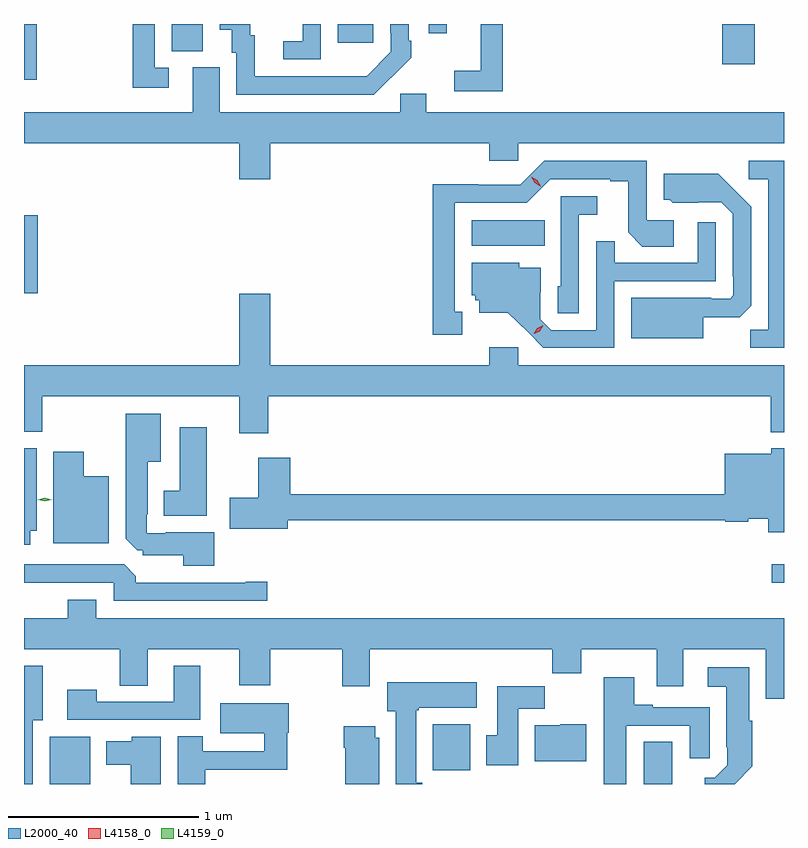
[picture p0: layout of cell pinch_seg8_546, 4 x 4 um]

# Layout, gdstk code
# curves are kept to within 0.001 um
import gdstk
lib = gdstk.Library(unit=1e-6, precision=1e-09)
def R(c, l, rs):  # rectangles x0, y0, x1, y1
    for r in rs: c.add(gdstk.rectangle(r[:2], r[2:], *l))
def P(c, l, *ps):  # polygons
    for p in ps: c.add(gdstk.Polygon(p, *l))
L2000_40 = (2000, 40)
L4158_0 = (4158, 0)
L4159_0 = (4159, 0)

pinch_seg8_546 = lib.new_cell('pinch_seg8_546')
R(pinch_seg8_546, L2000_40, [(140.036,1119.788,140.248,1120.036), (143.162,1119.788,143.311,1120.01), (142.052,1119.86,142.249,1120.102), (143.835,1120.848,143.9,1120.944), (139.9,1122.371,139.972,1122.781), (142.256,1122.62,142.64,1122.754), (139.9,1123.494,139.967,1123.788), (143.576,1123.575,143.746,1123.788), (140.678,1123.645,140.842,1123.788), (141.551,1123.689,141.739,1123.788), (142.029,1123.74,142.125,1123.788)])
P(pinch_seg8_546, L2000_40, [(142.421,1123.788),(142.304,1123.788),(142.304,1123.543),(142.164,1123.543),(142.164,1123.434),(142.421,1123.434)],
  [(141.462,1123.788),(141.366,1123.788),(141.366,1123.698),(141.264,1123.698),(141.264,1123.602),(141.462,1123.602)],
  [(141.833,1123.507),(141.834,1123.506),(141.939,1123.611),(141.939,1123.699),(141.924,1123.699),(141.924,1123.788),(141.828,1123.788),(141.828,1123.741),(141.831,1123.741),(141.831,1123.641),(141.703,1123.513),(141.599,1123.512),(141.115,1123.512),(141.115,1123.728),(141.091,1123.728),(141.091,1123.788),(140.93,1123.788),(140.93,1123.757),(140.993,1123.757),(140.993,1123.638),(141.018,1123.638),(141.018,1123.416),(141.742,1123.416)],
  [(140.662,1123.557),(140.589,1123.557),(140.589,1123.788),(140.473,1123.788),(140.473,1123.452),(140.662,1123.452)],
  [(141.196,1123.16),(142.349,1123.16),(142.349,1123.067),(142.5,1123.067),(142.5,1123.16),(143.9,1123.16),(143.9,1123.324),(142.018,1123.324),(142.018,1123.422),(141.879,1123.422),(141.879,1123.324),(140.929,1123.324),(140.929,1123.56),(140.789,1123.56),(140.789,1123.324),(139.9,1123.324),(139.9,1123.16),(141.032,1123.16),(141.032,1122.972),(141.196,1122.972)],
  [(142.207,1122.273),(142.168,1122.273),(142.168,1122.846),(142.545,1122.846),(142.671,1122.972),(142.985,1122.972),(142.985,1122.96),(143.079,1122.96),(143.079,1122.692),(143.155,1122.616),(143.32,1122.616),(143.32,1122.756),(143.178,1122.756),(143.178,1123.068),(142.638,1123.068),(142.512,1122.942),(142.29,1122.942),(142.29,1122.944),(142.05,1122.944),(142.05,1122.153),(142.207,1122.153)],
  [(143.9,1123.068),(143.715,1123.068),(143.715,1122.972),(143.817,1122.972),(143.817,1122.179),(143.722,1122.179),(143.722,1122.084),(143.9,1122.084)],
  [(143.476,1122.245),(143.668,1122.245),(143.727,1122.304),(143.727,1122.826),(143.555,1123),(143.267,1123),(143.267,1122.864),(143.298,1122.864),(143.314,1122.848),(143.571,1122.849),(143.631,1122.789),(143.631,1122.46),(143.634,1122.46),(143.634,1122.36),(143.616,1122.342),(143.516,1122.342),(143.516,1122.346),(143.096,1122.346),(143.096,1122.134),(143.476,1122.134)],
  [(142.821,1122.785),(142.918,1122.785),(142.918,1122.882),(142.725,1122.882),(142.725,1122.408),(142.71,1122.408),(142.71,1122.265),(142.821,1122.265)],
  [(143.007,1122.435),(143.541,1122.435),(143.541,1122.745),(143.445,1122.745),(143.445,1122.531),(143.009,1122.531),(143.009,1122.644),(142.911,1122.644),(142.911,1122.177),(142.674,1122.177),(142.617,1122.234),(142.617,1122.376),(142.621,1122.376),(142.621,1122.505),(142.506,1122.505),(142.506,1122.532),(142.256,1122.532),(142.256,1122.36),(142.275,1122.36),(142.275,1122.333),(142.295,1122.333),(142.295,1122.269),(142.447,1122.269),(142.634,1122.084),(143.007,1122.084)],
  [(141.185,1121.828),(143.831,1121.828),(143.831,1121.639),(143.9,1121.639),(143.9,1121.992),(142.5,1121.992),(142.5,1122.088),(142.349,1122.088),(142.349,1121.992),(141.196,1121.992),(141.196,1122.367),(141.032,1122.367),(141.032,1121.992),(139.9,1121.992),(139.9,1121.641),(139.995,1121.641),(139.995,1121.828),(141.032,1121.828),(141.032,1121.634),(141.185,1121.634)],
  [(140.902,1121.113),(140.647,1121.113),(140.647,1121.109),(140.547,1121.109),(140.547,1121.209),(140.551,1121.209),(140.551,1121.483),(140.62,1121.483),(140.62,1121.737),(140.435,1121.737),(140.435,1121.079),(140.495,1121.019),(140.526,1121.019),(140.526,1120.991),(140.738,1120.991),(140.738,1120.937),(140.902,1120.937)],
  [(140.863,1121.665),(140.72,1121.665),(140.72,1121.332),(140.636,1121.332),(140.636,1121.201),(140.863,1121.201)],
  [(139.933,1121.12),(139.966,1121.12),(139.966,1121.556),(139.9,1121.556),(139.9,1121.046),(139.933,1121.046)],
  [(143.9,1121.554),(143.832,1121.554),(143.832,1121.527),(143.588,1121.527),(143.588,1121.312),(141.302,1121.312),(141.302,1121.506),(141.134,1121.506),(141.134,1121.295),(140.982,1121.295),(140.982,1121.132),(141.289,1121.132),(141.289,1121.176),(143.592,1121.176),(143.592,1121.168),(143.712,1121.168),(143.712,1121.183),(143.816,1121.183),(143.816,1121.112),(143.9,1121.112)],
  [(140.347,1121.407),(140.215,1121.407),(140.215,1121.536),(140.054,1121.536),(140.054,1121.054),(140.347,1121.054)],
  [(141.181,1120.853),(141.068,1120.853),(141.068,1120.848),(140.489,1120.848),(140.489,1120.882),(140.427,1120.944),(139.9,1120.944),(139.9,1120.848),(140.373,1120.848),(140.373,1120.752),(141.181,1120.752)],
  [(143.9,1120.66),(140.281,1120.66),(140.281,1120.759),(140.129,1120.759),(140.129,1120.66),(139.9,1120.66),(139.9,1120.496),(140.404,1120.496),(140.404,1120.306),(140.551,1120.306),(140.551,1120.496),(141.032,1120.496),(141.032,1120.308),(141.196,1120.308),(141.196,1120.496),(141.574,1120.496),(141.574,1120.302),(141.721,1120.302),(141.721,1120.496),(142.681,1120.496),(142.681,1120.372),(142.833,1120.372),(142.833,1120.496),(143.231,1120.496),(143.231,1120.302),(143.371,1120.302),(143.371,1120.496),(143.805,1120.496),(143.805,1120.236),(143.9,1120.236)],
  [(139.945,1120.124),(139.999,1120.124),(139.999,1120.411),(139.9,1120.411),(139.9,1119.788),(139.945,1119.788)],
  [(140.827,1120.411),(140.687,1120.411),(140.687,1120.221),(140.283,1120.221),(140.283,1120.285),(140.127,1120.285),(140.127,1120.125),(140.827,1120.125)],
  [(143.734,1119.881),(143.734,1120.122),(143.716,1120.122),(143.716,1120.402),(143.499,1120.402),(143.499,1120.301),(143.597,1120.301),(143.597,1119.982),(143.601,1119.982),(143.601,1119.888),(143.535,1119.822),(143.483,1119.822),(143.483,1119.788),(143.641,1119.788)],
  [(143.071,1120.095),(143.405,1120.095),(143.405,1119.924),(143.509,1119.924),(143.509,1120.191),(143.209,1120.191),(143.209,1120.204),(143.113,1120.204),(143.113,1120.351),(142.952,1120.351),(142.952,1119.788),(143.071,1119.788)],
  [(141.997,1119.794),(141.964,1119.794),(141.964,1120.177),(141.978,1120.177),(141.978,1120.19),(142.282,1120.19),(142.282,1120.324),(141.812,1120.324),(141.812,1120.17),(141.857,1120.17),(141.857,1119.788),(141.997,1119.788)],
  [(142.501,1120.184),(142.64,1120.184),(142.64,1120.303),(142.391,1120.303),(142.391,1120.044),(142.334,1120.044),(142.334,1119.888),(142.501,1119.888)],
  [(140.855,1119.863),(141.286,1119.863),(141.286,1120.059),(141.294,1120.059),(141.294,1120.213),(140.934,1120.213),(140.934,1120.055),(141.165,1120.055),(141.165,1119.96),(140.842,1119.96),(140.842,1120.04),(140.708,1120.04),(140.708,1119.788),(140.855,1119.788)],
  [(142.858,1120.102),(142.722,1120.102),(142.722,1120.096),(142.589,1120.096),(142.589,1119.908),(142.858,1119.908)],
  [(141.769,1120.032),(141.748,1120.032),(141.748,1120.093),(141.583,1120.093),(141.583,1119.98),(141.59,1119.98),(141.59,1119.788),(141.769,1119.788)],
  [(140.62,1120.036),(140.466,1120.036),(140.466,1120.012),(140.333,1120.012),(140.333,1119.89),(140.462,1119.89),(140.462,1119.788),(140.62,1119.788)])
P(pinch_seg8_546, L4158_0, [(142.584,1122.157),(142.584,1122.157),(142.602,1122.187),(142.632,1122.202),(142.633,1122.202),(142.633,1122.202),(142.615,1122.172),(142.585,1122.157)],
  [(142.618,1122.933),(142.587,1122.952),(142.569,1122.984),(142.569,1122.985),(142.57,1122.985),(142.601,1122.966),(142.619,1122.933),(142.619,1122.933)])
P(pinch_seg8_546, L4159_0, [(140.009,1121.275),(139.972,1121.284),(139.971,1121.285),(139.972,1121.285),(140.009,1121.294),(140.047,1121.285),(140.047,1121.284),(140.047,1121.284)])

lib.write_gds('pinch_seg8_546.gds')
